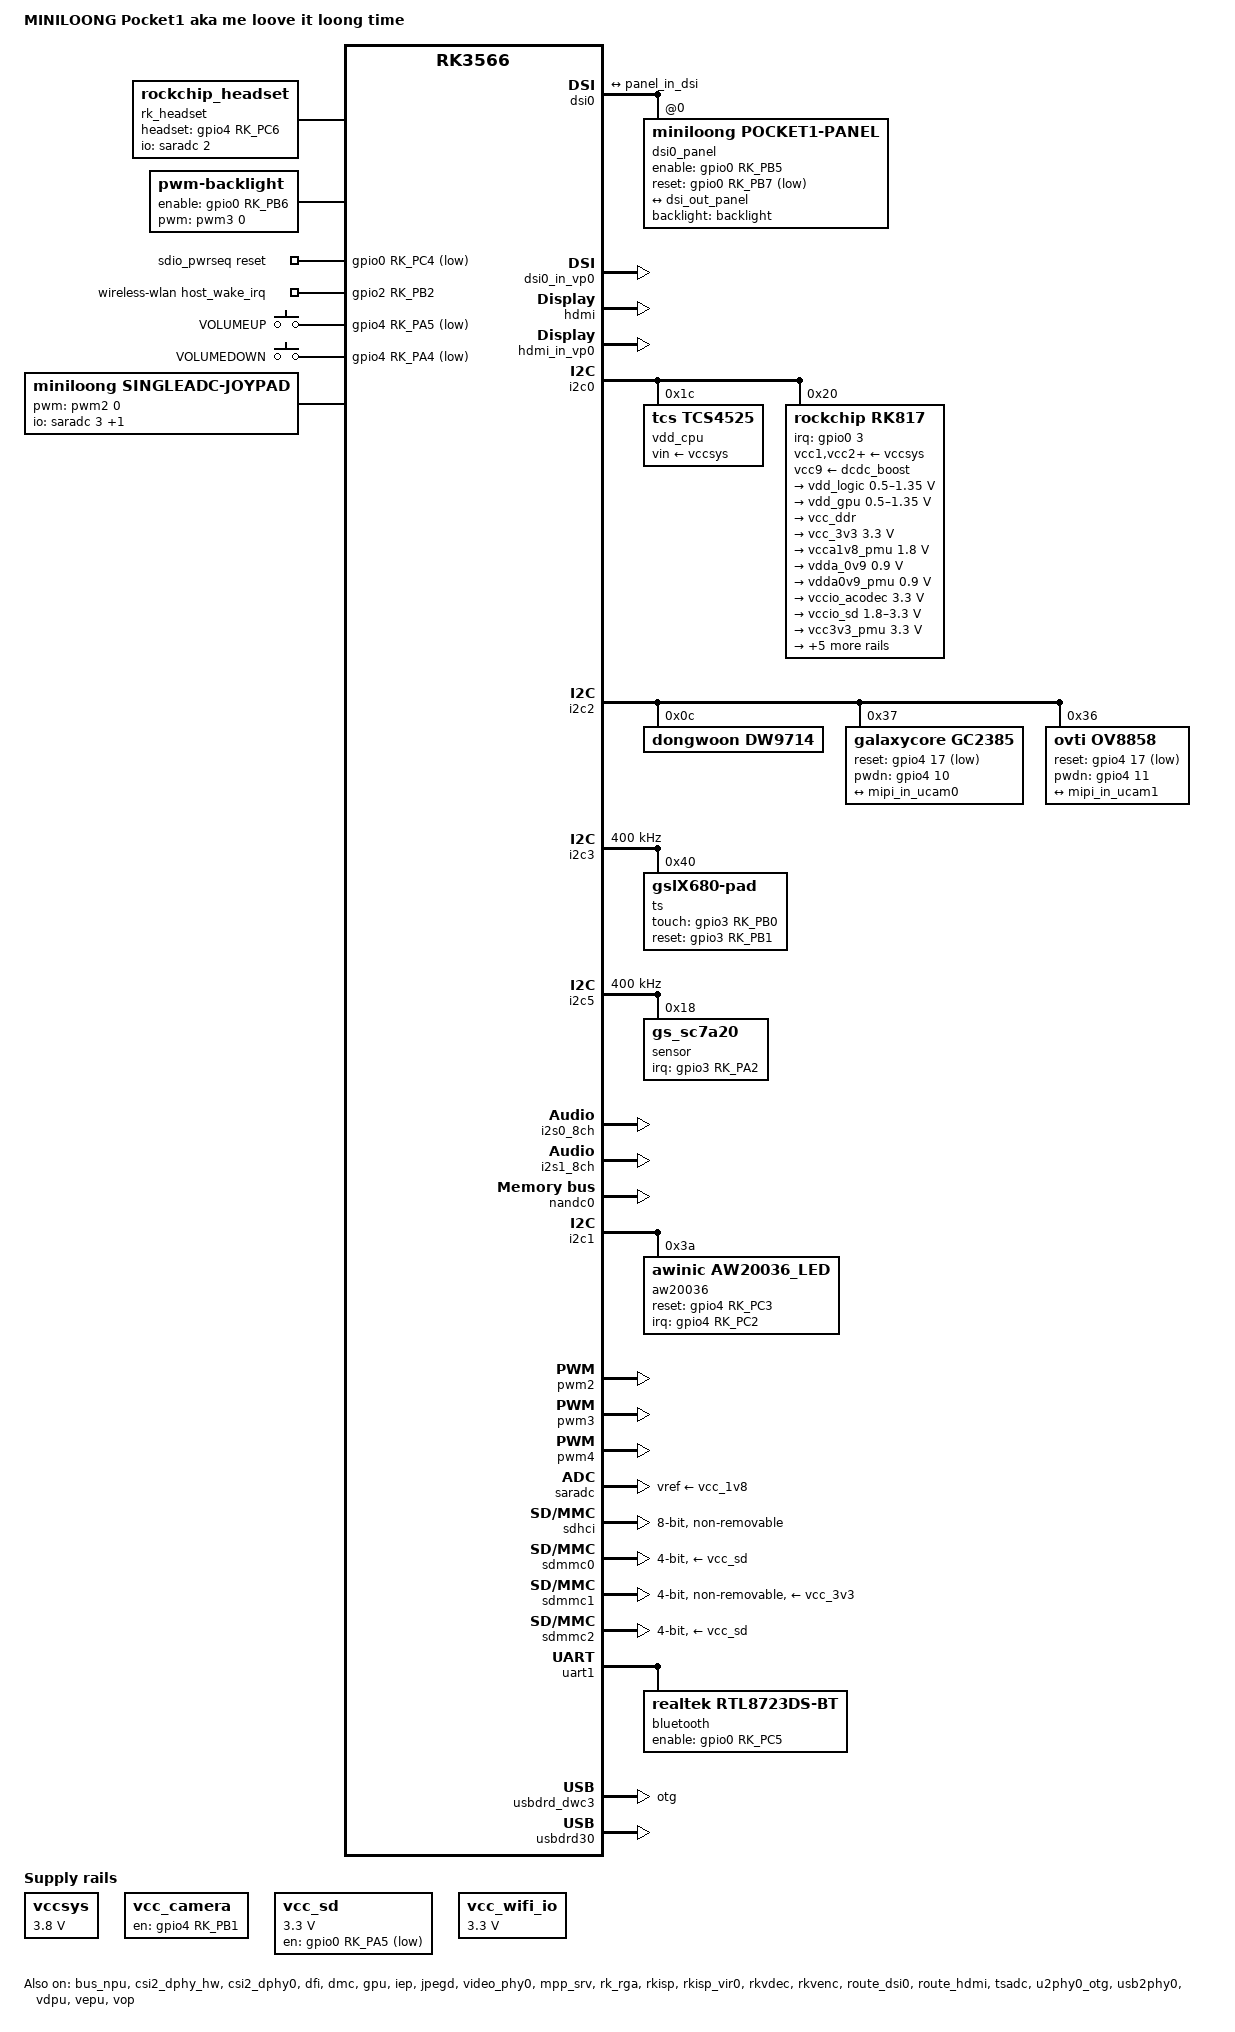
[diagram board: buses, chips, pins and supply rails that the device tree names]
// SPDX-License-Identifier: (GPL-2.0+ OR MIT)
/*
 * dArkOS Miniloong Pocket1 board DTS, reconstructed from Miniloong RK817 tablet DTB.
 * Copyright (c) 2020 Rockchip Electronics Co., Ltd.
 *
 */

/dts-v1/;

#include <dt-bindings/pwm/pwm.h>
#include <dt-bindings/gpio/gpio.h>
#include <dt-bindings/pinctrl/rockchip.h>
#include <dt-bindings/input/rk-input.h>
#include <dt-bindings/sensor-dev.h>
#include <dt-bindings/display/drm_mipi_dsi.h>
#include "rk3566.dtsi"
#include "rk3568-linux.dtsi"

/ {
	model = "MINILOONG Pocket1 aka me loove it loong time";
	compatible = "miniloong,pocket1", "rockchip,rk3566";

	chosen: chosen {
		stdout-path = "serial2:1500000n8";
	};

	adc_keys: adc-keys {
		status = "disabled";
		compatible = "adc-keys";
		io-channels = <&saradc 0>;
		io-channel-names = "buttons";
		keyup-threshold-microvolt = <1800000>;
		poll-interval = <100>;

		vol-up-key {
			label = "volume up";
			linux,code = <KEY_VOLUMEUP>;
			press-threshold-microvolt = <1750>;
		};

		vol-down-key {
			label = "volume down";
			linux,code = <KEY_VOLUMEDOWN>;
			press-threshold-microvolt = <297500>;
		};
	};

	rk_headset: rk-headset {
		compatible = "rockchip_headset";
		headset_gpio = <&gpio4 RK_PC6 GPIO_ACTIVE_HIGH>;
		pinctrl-names = "default";
		pinctrl-0 = <&hp_det>;
		io-channels = <&saradc 2>;
	};

	backlight: backlight {
		status = "okay";
		compatible = "pwm-backlight";
		pwms = <&pwm3 0 25000 0>;
		enable-gpios = <&gpio0 RK_PB6 GPIO_ACTIVE_HIGH>;
		brightness-levels = <
			0 260 260 260 260 260 260 260 260 260 260 260 260 260 261 261
			261 261 261 261 261 261 262 262 262 262 262 262 263 263 263 263
			264 264 264 264 265 265 265 266 266 266 267 267 267 268 268 268
			269 269 270 270 271 271 271 272 272 273 273 274 274 275 275 276
			277 277 278 278 279 280 280 281 281 282 283 284 284 285 286 286
			287 288 289 289 290 291 292 293 293 294 295 296 297 298 299 300
			300 301 302 303 304 305 306 307 308 309 310 311 312 314 315 316
			317 318 319 320 321 323 324 325 326 327 329 330 331 332 334 335
			336 338 339 340 342 343 344 346 347 348 350 351 353 354 356 357
			359 360 362 363 365 366 368 370 371 373 374 376 378 379 381 383
			384 386 388 390 391 393 395 397 399 400 402 404 406 408 410 412
			414 415 417 419 421 423 425 427 429 431 433 435 437 440 442 444
			446 448 450 452 455 457 459 461 463 466 468 470 472 475 477 479
			482 484 486 489 491 494 496 498 501 503 506 508 511 513 516 518
			521 524 526 529 531 534 537 539 542 545 547 550 572 595 618 640
			662 685 708 730 752 775 798 820 842 865 888 910 932 955 978 1000
		>;
		default-brightness-level = <120>;
	};

	charge-animation {
		compatible = "rockchip,uboot-charge";
		rockchip,uboot-charge-on = <1>;
		rockchip,android-charge-on = <0>;
		rockchip,uboot-low-power-voltage = <3350>;
		rockchip,screen-on-voltage = <3400>;
		status = "okay";
	};

	flash_rgb13h: flash-rgb13h {
		status = "disabled";
		compatible = "led,rgb13h";
		label = "gpio-flash";
		pinctrl-names = "default";
		pinctrl-0 = <&flash_led_gpios>;
		led-max-microamp = <20000>;
		flash-max-microamp = <20000>;
		flash-max-timeout-us = <1000000>;
		enable-gpio = <&gpio4 6 GPIO_ACTIVE_HIGH>;
		rockchip,camera-module-index = <0>;
		rockchip,camera-module-facing = "back";
	};

	rk817_sound: rk817-sound {
		/*
		 * Match the known-working dArkOS/RGB20Pro RK817 card binding.
		 * Keep this simple until the codec card appears in aplay -l.
		 */
		status = "okay";
		compatible = "simple-audio-card";
		simple-audio-card,format = "i2s";
		simple-audio-card,name = "rockchip,rk817-codec";
		simple-audio-card,mclk-fs = <256>;

		simple-audio-card,cpu {
			sound-dai = <&i2s1_8ch>;
		};

		simple-audio-card,codec {
			sound-dai = <&rk817_codec>;
		};
	};

	hdmi_sound: hdmi-sound {
		compatible = "simple-audio-card";
		simple-audio-card,format = "i2s";
		simple-audio-card,mclk-fs = <128>;
		simple-audio-card,name = "rockchip,hdmi";
		status = "okay";

		simple-audio-card,cpu {
				sound-dai = <&i2s0_8ch>;
		};
		simple-audio-card,codec {
				sound-dai = <&hdmi>;
		};
	};

	vccsys: vccsys {
		compatible = "regulator-fixed";
		regulator-name = "vcc3v8_sys";
		regulator-always-on;
		regulator-boot-on;
		regulator-min-microvolt = <3800000>;
		regulator-max-microvolt = <3800000>;
	};

	vcc_camera: vcc-camera-regulator {
		compatible = "regulator-fixed";
		gpio = <&gpio4 RK_PB1 GPIO_ACTIVE_HIGH>;
		pinctrl-names = "default";
		pinctrl-0 = <&camera_rst>;
		regulator-name = "vcc_camera";
		enable-active-high;
		regulator-always-on;
		regulator-boot-on;
	};

	sdio_pwrseq: sdio-pwrseq {
		compatible = "mmc-pwrseq-simple";
		clocks = <&rk817 1>;
		clock-names = "ext_clock";
		pinctrl-names = "default";
		pinctrl-0 = <&wifi_enable_h>;

		/*
		 * On the module itself this is one of these (depending
		 * on the actual card populated):
		 * - SDIO_RESET_L_WL_REG_ON
		 * - PDN (power down when low)
		 */
		post-power-on-delay-ms = <200>;
		reset-gpios = <&gpio0 RK_PC4 GPIO_ACTIVE_LOW>;
	};

	vcc_sd: vcc-sd {
		compatible = "regulator-gpio";
		enable-active-low;
		enable-gpio = <&gpio0 RK_PA5 GPIO_ACTIVE_LOW>;
		regulator-min-microvolt = <3300000>;
		regulator-max-microvolt = <3300000>;
		pinctrl-names = "default";
		pinctrl-0 = <&vcc_sd_h>;
		regulator-name = "vcc_sd";
		states = <3300000 0x0
			3300000 0x1>;
	};

	vcc_wifi_io: vcc-wifi-io {
		compatible = "regulator-fixed";
		regulator-name = "vcc_wifi_io";
		regulator-min-microvolt = <3300000>;
		regulator-max-microvolt = <3300000>;
		regulator-always-on;
	};

	wireless-wlan {
		compatible = "wlan-platdata";
		rockchip,grf = <&grf>;
		wifi_chip_type = "ap6255";
		pinctrl-names = "default";
		pinctrl-0 = <&wifi_host_wake_irq>;
		WIFI,host_wake_irq = <&gpio2 RK_PB2 GPIO_ACTIVE_HIGH>;
		//WIFI,poweren_gpio = <&gpio0 RK_PC4 GPIO_ACTIVE_HIGH>;
		status = "okay";
	};

	wireless-bluetooth {
		status = "disabled";
	};

	/*
	 * Digital controls use gpio-keys because Miniloong buttons are plain GPIOs.
	 * This preserves the working Miniloong button input path while mimicking
	 * the dArkOS retrogame_joypad identity as far as gpio-keys allows via DTS.
	 *
	 * If your gpio-keys driver does not copy linux,input-vendor/product/version
	 * into input_dev->id, SDL GUID will still differ and a tiny gpio_keys.c
	 * patch is required.
	 */
	gpio_keys_vol: gpio-keys-vol {
		/*
		 * Keep volume keys separate from retrogame_joypad so the
		 * joypad SDL mapping/bitmap stays RGB20Pro-compatible.
		 */
		compatible = "gpio-keys";
		autorepeat;
		status = "okay";

		button-volup {
			gpios = <&gpio4 RK_PA5 GPIO_ACTIVE_LOW>;
			label = "VOLUMEUP";
			linux,code = <KEY_VOLUMEUP>;
			debounce-interval = <10>;
		};

		button-voldown {
			gpios = <&gpio4 RK_PA4 GPIO_ACTIVE_LOW>;
			label = "VOLUMEDOWN";
			linux,code = <KEY_VOLUMEDOWN>;
			debounce-interval = <10>;
		};
	};
	
	joypad: singleadc-joypad {
		/*
		 * Requires patched singleadcjoy.c with Miniloong direct-adc mode.
		 *
		 * This uses the real dArkOS singleadc-joypad input path so the
		 * Miniloong reports like RGB20Pro:
		 *   Name    = retrogame_joypad
		 *   Bus     = 0019
		 *   Vendor  = 484b
		 *   Product = 1101
		 *   Version = 0100
		 *   Phys    = retrogame_joypad/input0
		 *
		 * It also exposes ABS/FF capabilities instead of a keyboard-like
		 * gpio-keys device.
		 */
		compatible = "miniloong,singleadc-joypad", "singleadc-joypad";
		status = "okay";

		/* rumble */
		/* pwms = <&pwm5 0 10000 0>; */
		pwms = <&pwm2 0 10000 0>;

		joypad-name = "retrogame_joypad";
		joypad-product = <0x1101>;
		joypad-revision = <0x0100>;

		/*
		 * Miniloong direct SARADC layout:
		 *   SARADC3 = X
		 *   SARADC2 = Y
		 */
		direct-adc;
		io-channel-names = "joy_x", "joy_y";
		io-channels = <&saradc 3>, <&saradc 2>;

		/*
		 * Keep amux-count at 4 so the input capability bitmap includes
		 * ABS_X, ABS_Y, ABS_RX, and ABS_RY like the RGB20Pro. The
		 * patched driver centers RX/RY because Miniloong has one stick.
		 */
		amux-count = <4>;
		button-adc-scale = <2>;
		button-adc-deadzone = <48>;
		button-adc-fuzz = <16>;
		button-adc-flat = <16>;
		poll-interval = <10>;
		direct-adc-gain = <6>;

		abs_x-p-tuning = <250>;
		abs_x-n-tuning = <250>;
		abs_y-p-tuning = <250>;
		abs_y-n-tuning = <250>;
		abs_rx-p-tuning = <250>;
		abs_rx-n-tuning = <250>;
		abs_ry-p-tuning = <250>;
		abs_ry-n-tuning = <250>;

		pinctrl-names = "default";
		pinctrl-0 = <&gpio_keys_ctrl>;

		sw1 {
			gpios = <&gpio3 RK_PD1 GPIO_ACTIVE_LOW>;
			label = "BTN_UP";
			linux,code = <BTN_DPAD_UP>;
		};

		sw2 {
			gpios = <&gpio3 RK_PC6 GPIO_ACTIVE_LOW>;
			label = "BTN_DOWN";
			linux,code = <BTN_DPAD_DOWN>;
		};

		sw3 {
			gpios = <&gpio3 RK_PC7 GPIO_ACTIVE_LOW>;
			label = "BTN_LEFT";
			linux,code = <BTN_DPAD_LEFT>;
		};

		sw4 {
			gpios = <&gpio3 RK_PD0 GPIO_ACTIVE_LOW>;
			label = "BTN_RIGHT";
			linux,code = <BTN_DPAD_RIGHT>;
		};

		sw5 {
			gpios = <&gpio3 RK_PD5 GPIO_ACTIVE_LOW>;
			label = "BTNSOUTH";
			linux,code = <BTN_SOUTH>;
		};

		sw6 {
			gpios = <&gpio3 RK_PD3 GPIO_ACTIVE_LOW>;
			label = "BTNEAST";
			linux,code = <BTN_EAST>;
		};

		sw7 {
			gpios = <&gpio3 RK_PD2 GPIO_ACTIVE_LOW>;
			label = "BTNWEST";
			linux,code = <BTN_WEST>;
		};

		sw8 {
			gpios = <&gpio3 RK_PD4 GPIO_ACTIVE_LOW>;
			label = "BTNNORTH";
			linux,code = <BTN_NORTH>;
		};

		sw9 {
			gpios = <&gpio4 RK_PA2 GPIO_ACTIVE_LOW>;
			label = "SELECT";
			linux,code = <BTN_SELECT>;
		};

		sw10 {
			gpios = <&gpio4 RK_PA3 GPIO_ACTIVE_LOW>;
			label = "START";
			linux,code = <BTN_START>;
		};

		sw11 {
			gpios = <&gpio4 RK_PA6 GPIO_ACTIVE_LOW>;
			label = "MODE";
			linux,code = <BTN_MODE>;
		};

		sw12 {
			gpios = <&gpio3 RK_PD6 GPIO_ACTIVE_LOW>;
			label = "BTN_L1";
			linux,code = <BTN_TL>;
		};

		sw13 {
			gpios = <&gpio4 RK_PA0 GPIO_ACTIVE_LOW>;
			label = "BTN_R1";
			linux,code = <BTN_TR>;
		};

		sw14 {
			gpios = <&gpio3 RK_PD7 GPIO_ACTIVE_LOW>;
			label = "BTN_L2";
			linux,code = <BTN_TL2>;
		};

		sw15 {
			gpios = <&gpio4 RK_PA1 GPIO_ACTIVE_LOW>;
			label = "BTN_R2";
			linux,code = <BTN_TR2>;
		};

		sw16 {
			gpios = <&gpio2 RK_PC5 GPIO_ACTIVE_LOW>;
			label = "LEFT JOYSTICK MIDDLE";
			linux,code = <BTN_THUMBL>;
		};
	};

	/*
	 * Placeholder for Miniloong analog stick hardware.
	 * This is disabled because the existing dArkOS singleadc-joypad
	 * binding expects an ADC mux, while Miniloong uses direct ADC channels.
	 */

	mangmi_powerCtrl: mangmi-powerctrl {
		compatible = "mangmi,powerCtrl";
		pinctrl-names = "default";
		pinctrl-0 = <&powerCtrl_en>;
		typec-5v-en-gpio = <&gpio0 RK_PC7 GPIO_ACTIVE_HIGH>;
		spk-ctl-gpio = <&gpio0 RK_PC0 GPIO_ACTIVE_HIGH>;
		status = "disabled";
	};
};

&bus_npu {
	bus-supply = <&vdd_logic>;
	pvtm-supply = <&vdd_cpu>;
	status = "okay";
};

&cpu0 {
	cpu-supply = <&vdd_cpu>;
};

&cpu1 {
	cpu-supply = <&vdd_cpu>;
};

&cpu2 {
	cpu-supply = <&vdd_cpu>;
};

&cpu3 {
	cpu-supply = <&vdd_cpu>;
};

&csi2_dphy_hw {
	status = "okay";
};

&csi2_dphy0 {
	status = "okay";

	ports {
		#address-cells = <1>;
		#size-cells = <0>;
		port@0 {
			reg = <0>;
			#address-cells = <1>;
			#size-cells = <0>;

			mipi_in_ucam0: endpoint@0 {
				reg = <0>;
				remote-endpoint = <&gc2385_out>;
				data-lanes = <1>;
			};
			mipi_in_ucam1: endpoint@1 {
				reg = <1>;
				remote-endpoint = <&ov8858_out>;
				data-lanes = <1 2 3 4>;
			};
		};
		port@1 {
			reg = <1>;
			#address-cells = <1>;
			#size-cells = <0>;

			csidphy0_out: endpoint@0 {
				reg = <0>;
				remote-endpoint = <&isp0_in>;
			};
		};
	};
};

&dfi {
	status = "okay";
};

&dmc {
	operating-points-v2 = <&dmc_opp_table>;
	center-supply = <&vdd_logic>;
	status = "okay";

	/*
	 * Copied verbatim from the stock/vendor dts's &dmc node -- absent
	 * from this file previously. These tell the rockchip DMC (DDR
	 * frequency) devfreq governor to proactively bump DDR clock speed
	 * in response to VOP display bandwidth demand, rather than relying
	 * only on generic reactive CPU-load-based scaling. Without these,
	 * DDR could stay at a lower frequency during a sudden display
	 * bandwidth spike (more likely at 90/120Hz, where there's less
	 * time per frame for the memory subsystem to keep up), letting the
	 * VOP's line buffer run dry for a frame -- producing exactly the
	 * kind of brief white flash seen during active use. All values are
	 * plain numeric bandwidth-threshold/frequency pairs, not phandles,
	 * so a direct copy from stock is safe.
	 */
	vop-bw-dmc-freq = <0x00 0x11e 0x4f1a0 0x11f 0x1869f 0x80e80>;
	vop-frame-bw-dmc-freq = <0x00 0x26c 0x4f1a0 0x26d 0x1869f 0xbe6e0>;
	cpu-bw-dmc-freq = <0x00 0x15e 0x4f1a0 0x15f 0x190 0x80e80 0x191 0x1869f 0xbe6e0>;
	system-status-level = <0x01 0x04 0x08 0x08 0x02 0x01 0x10 0x04 0x10000 0x04 0x1000 0x08 0x4000 0x08 0x2000 0x08 0xc00 0x08>;
	auto-min-freq = <0x4f1a0>;
	auto-freq-en = <0x01>;
	upthreshold = <0x28>;
	downdifferential = <0x14>;
	#cooling-cells = <2>;
};

&dsi0 {
	status = "okay";
	/*
	 * Deliberately NOT setting rockchip,lane-rate here (stock/vendor
	 * dts never sets it either -- confirmed by direct comparison).
	 * Leaving it unset lets the dw-mipi-dsi driver auto-calculate the
	 * DSI PHY bit rate per active mode, rather than forcing a fixed
	 * 1000 Mbps/lane regardless of refresh rate. A fixed high rate
	 * means the burst duty cycle (fraction of each line spent
	 * actively toggling at high speed) grows with refresh rate even
	 * though peak PHY bit rate doesn't -- a plausible source of
	 * refresh-rate-dependent signal margin issues on some panel/cable
	 * batches. If 90/120Hz white-screens on a given unit even with
	 * this removed, that rules this out and points back toward a
	 * genuine per-unit hardware margin limit instead.
	 */
	dsi0_panel: panel@0 {
		compatible = "miniloong,pocket1-panel", "simple-panel-dsi";
		reg = <0>;
		backlight = <&backlight>;
		enable-gpios = <&gpio0 RK_PB5 GPIO_ACTIVE_HIGH>;
		reset-gpios = <&gpio0 RK_PB7 GPIO_ACTIVE_LOW>;
		pinctrl-names = "default";
		pinctrl-0 = <&lcd_enable_gpio>, <&lcd_rst_gpio>;
		prepare-delay-ms = <120>;
		reset-delay-ms = <120>;
		init-delay-ms = <120>;
		stbyb-delay-ms = <120>;
		enable-delay-ms = <120>;
		disable-delay-ms = <120>;
		unprepare-delay-ms = <120>;
		width-mm = <229>;
		height-mm = <143>;
		dsi,flags = <(MIPI_DSI_MODE_VIDEO | MIPI_DSI_MODE_VIDEO_BURST | MIPI_DSI_MODE_LPM | MIPI_DSI_MODE_EOT_PACKET)>;
		dsi,format = <MIPI_DSI_FMT_RGB888>;
		dsi,lanes = <4>;
		panel-init-sequence = [
			39 00 04 ff 98 81 03 15 00 02 01 00 15 00 02 02
			00 15 00 02 03 72 15 00 02 04 00 15 00 02 05 00
			15 00 02 06 09 15 00 02 07 00 15 00 02 08 00 15
			00 02 09 01 15 00 02 0a 00 15 00 02 0b 00 15 00
			02 0c 01 15 00 02 0d 00 15 00 02 0e 00 15 00 02
			0f 00 15 00 02 10 00 15 00 02 11 00 15 00 02 12
			00 15 00 02 13 00 15 00 02 14 00 15 00 02 15 00
			15 00 02 16 00 15 00 02 17 00 15 00 02 18 00 15
			00 02 19 00 15 00 02 1a 00 15 00 02 1b 00 15 00
			02 1c 00 15 00 02 1d 00 15 00 02 1e 40 15 00 02
			1f 80 15 00 02 20 05 15 00 02 21 02 15 00 02 22
			00 15 00 02 23 00 15 00 02 24 00 15 00 02 25 00
			15 00 02 26 00 15 00 02 27 00 15 00 02 28 33 15
			00 02 29 02 15 00 02 2a 00 15 00 02 2b 00 15 00
			02 2c 00 15 00 02 2d 00 15 00 02 2e 00 15 00 02
			2f 00 15 00 02 31 00 15 00 02 32 00 15 00 02 33
			00 15 00 02 34 04 15 00 02 35 00 15 00 02 36 00
			15 00 02 37 00 15 00 02 38 3c 15 00 02 39 00 15
			00 02 3a 40 15 00 02 3b 40 15 00 02 3c 00 15 00
			02 3d 00 15 00 02 3e 00 15 00 02 3f 00 15 00 02
			40 00 15 00 02 41 00 15 00 02 42 00 15 00 02 43
			00 15 00 02 44 00 15 00 02 50 01 15 00 02 51 23
			15 00 02 52 45 15 00 02 53 67 15 00 02 54 89 15
			00 02 55 ab 15 00 02 56 01 15 00 02 57 23 15 00
			02 58 45 15 00 02 59 67 15 00 02 5a 89 15 00 02
			5b ab 15 00 02 5c cd 15 00 02 5d ef 15 00 02 5e
			11 15 00 02 5f 01 15 00 02 60 00 15 00 02 61 15
			15 00 02 62 14 15 00 02 63 0e 15 00 02 64 0f 15
			00 02 65 0c 15 00 02 66 0d 15 00 02 67 06 15 00
			02 68 02 15 00 02 69 07 15 00 02 6a 02 15 00 02
			6b 02 15 00 02 6c 02 15 00 02 6d 02 15 00 02 6e
			02 15 00 02 6f 02 15 00 02 70 02 15 00 02 71 02
			15 00 02 72 02 15 00 02 73 02 15 00 02 74 02 15
			00 02 75 01 15 00 02 76 00 15 00 02 77 14 15 00
			02 78 15 15 00 02 79 0e 15 00 02 7a 0f 15 00 02
			7b 0c 15 00 02 7c 0d 15 00 02 7d
			06 15 00 02 7e
			02 15 00 02 7f 07 15 00 02 80 02 15 00 02 81 02
			15 00 02 82 02 15 00 02 83 02 15 00 02 84 02 15
			00 02 85 02 15 00 02 86 02 15 00 02 87 02 15 00
			02 88 02 15 00 02 89 02 15 00 02 8a 02 39 00 04
			ff 98 81 04 15 00 02 38 01 15 00 02 39 00 15 00
			02 6c 15 15 00 02 6e 2a 15 00 02 6f 34 15 00 02
			3a 94 15 00 02 8d 14 15 00 02 87 ba 15 00 02 26
			76 15 00 02 b2 d1 15 00 02 b5 06 15 00 02 3b 98
			39 00 04 ff 98 81 01 15 00 02 22 09 15 00 02 2e
			78 15 00 02 31 00 15 00 02 53 90 15 00 02 55 a2
			15 00 02 50 b7 15 00 02 51 b7 15 00 02 60 22 15
			00 02 61 00 15 00 02 62 19 15 00 02 63 10 15 00
			02 a0 08 15 00 02 a1 1a 15 00 02 a2 27 15 00 02
			a3 15 15 00 02 a4 17 15 00 02 a5 2a 15 00 02 a6
			1e 15 00 02 a7 1f 15 00 02 a8 8b 15 00 02 a9 1b
			15 00 02 aa 27 15 00 02 ab 78 15 00 02 ac 18 15
			00 02 ad 18 15 00 02 ae 4c 15 00 02 af 21 15 00
			02 b0 27 15 00 02 b1 54 15 00 02 b2 67 15 00 02
			b3 39 15 00 02 c0 08 15 00 02 c1 1a 15 00 02 c2
			27 15 00 02 c3 15 15 00 02 c4 17 15 00 02 c5 2a
			15 00 02 c6 1e 15 00 02 c7 1f 15 00 02 c8 8b 15
			00 02 c9 1b 15 00 02 ca 27 15 00 02 cb 78 15 00
			02 cc 18 15 00 02 cd 18 15 00 02 ce 4c 15 00 02
			cf 21 15 00 02 d0 27 15 00 02 d1 54 15 00 02 d2
			67 15 00 02 d3 39 39 00 04 ff 98 81 00 15 00 02
			35 00 05 c8 01 11 05 28 01 29
		];
		panel-exit-sequence = [
			05 dc 01 28
			05 78 01 10
		];
		display-timings {
			/*
			 * Informational only: panel-miniloong-pocket1.c builds
			 * its own drm_display_mode table (60/90/120Hz) rather
			 * than reading this node via of_get_display_timing().
			 * Kept here in sync so the DTS documents what the
			 * driver actually exposes. native-mode stays on the
			 * 60Hz timing as the safe default (module parameter
			 * preferred_refresh_hz controls the actual boot
			 * default in the driver).
			 */
			native-mode = <&dsi0_timing0>;
			dsi0_timing0: timing0 {
				clock-frequency = <47000000>;
				hactive = <720>;
				vactive = <960>;
				hsync-len = <14>;
				hback-porch = <20>;
				hfront-porch = <15>;
				vsync-len = <8>;
				vback-porch = <20>;
				vfront-porch = <30>;
				hsync-active = <0>;
				vsync-active = <0>;
				de-active = <0>;
				pixelclk-active = <0>;
			};
			dsi0_timing1: timing1 {
				clock-frequency = <70456000>;
				hactive = <720>;
				vactive = <960>;
				hsync-len = <14>;
				hback-porch = <20>;
				hfront-porch = <15>;
				vsync-len = <8>;
				vback-porch = <20>;
				vfront-porch = <30>;
				hsync-active = <0>;
				vsync-active = <0>;
				de-active = <0>;
				pixelclk-active = <0>;
			};
			dsi0_timing2: timing2 {
				clock-frequency = <93941000>;
				hactive = <720>;
				vactive = <960>;
				hsync-len = <14>;
				hback-porch = <20>;
				hfront-porch = <15>;
				vsync-len = <8>;
				vback-porch = <20>;
				vfront-porch = <30>;
				hsync-active = <0>;
				vsync-active = <0>;
				de-active = <0>;
				pixelclk-active = <0>;
			};
		};
		ports {
			#address-cells = <1>;
			#size-cells = <0>;
			port@0 { reg = <0>; panel_in_dsi: endpoint { remote-endpoint = <&dsi_out_panel>; }; };
		};
	};
	ports {
		#address-cells = <1>;
		#size-cells = <0>;
		port@1 { reg = <1>; dsi_out_panel: endpoint { remote-endpoint = <&panel_in_dsi>; }; };
	};
};

&dsi0_in_vp0 {
	status = "okay";
};

&dsi0_in_vp1 {
	status = "disabled";
};

&gpu {
	mali-supply = <&vdd_gpu>;
	mem-supply = <&vdd_gpu>;
	status = "okay";
	operating-points-v2 = <&gpu_opp_table>;
};

&hdmi {
	status = "okay";
};

&hdmi_in_vp0 {
	status = "okay";
};

&hdmi_in_vp1 {
	status = "disabled";
};

&hdmi_sound {
	status = "okay";
};

&i2c0 {
	status = "okay";

	vdd_cpu: tcs4525@1c {
		compatible = "tcs,tcs4525";
		reg = <0x1c>;
		vin-supply = <&vccsys>;
		regulator-compatible = "fan53555-reg";
		regulator-name = "vdd_cpu";
		regulator-min-microvolt = <712500>;
		regulator-max-microvolt = <1390000>;
		regulator-init-microvolt = <900000>;
		regulator-ramp-delay = <2300>;
		fcs,suspend-voltage-selector = <1>;
		regulator-boot-on;
		regulator-always-on;
		regulator-state-mem {
			regulator-off-in-suspend;
		};
	};

	rk817: pmic@20 {
		compatible = "rockchip,rk817";
		reg = <0x20>;
		interrupt-parent = <&gpio0>;
		interrupts = <3 IRQ_TYPE_LEVEL_LOW>;

		pinctrl-names = "default", "pmic-sleep",
				"pmic-power-off", "pmic-reset";
		pinctrl-0 = <&pmic_int>;
		pinctrl-1 = <&soc_slppin_slp>, <&rk817_slppin_slp>;
		pinctrl-2 = <&soc_slppin_gpio>, <&rk817_slppin_pwrdn>;
		pinctrl-3 = <&soc_slppin_gpio>, <&rk817_slppin_rst>;
		rockchip,system-power-controller;
		wakeup-source;
		#clock-cells = <1>;
		clock-output-names = "rk808-clkout1", "rk808-clkout2";
		//fb-inner-reg-idxs = <2>;
		/* 1: rst regs (default in codes), 0: rst the pmic */
		pmic-reset-func = <0>;
		/* not save the PMIC_POWER_EN register in uboot */
		not-save-power-en = <1>;

		vcc1-supply = <&vccsys>;
		vcc2-supply = <&vccsys>;
		vcc3-supply = <&vccsys>;
		vcc4-supply = <&vccsys>;
		vcc5-supply = <&vccsys>;
		vcc6-supply = <&vccsys>;
		vcc7-supply = <&vccsys>;
		vcc8-supply = <&vccsys>;
		vcc9-supply = <&dcdc_boost>;

		pwrkey {
			status = "okay";
		};

		pinctrl_rk8xx: pinctrl_rk8xx {
			gpio-controller;
			#gpio-cells = <2>;

			rk817_slppin_null: rk817_slppin_null {
				pins = "gpio_slp";
				function = "pin_fun0";
			};

			rk817_slppin_slp: rk817_slppin_slp {
				pins = "gpio_slp";
				function = "pin_fun1";
			};

			rk817_slppin_pwrdn: rk817_slppin_pwrdn {
				pins = "gpio_slp";
				function = "pin_fun2";
			};

			rk817_slppin_rst: rk817_slppin_rst {
				pins = "gpio_slp";
				function = "pin_fun3";
			};
		};

		regulators {
			vdd_logic: DCDC_REG1 {
				regulator-always-on;
				regulator-boot-on;
				regulator-min-microvolt = <500000>;
				regulator-max-microvolt = <1350000>;
				regulator-init-microvolt = <900000>;
				regulator-ramp-delay = <6001>;
				regulator-initial-mode = <0x2>;
				regulator-name = "vdd_logic";
				regulator-state-mem {
					regulator-off-in-suspend;
					regulator-suspend-microvolt = <900000>;
				};
			};

			vdd_gpu: DCDC_REG2 {
				regulator-always-on;
				regulator-boot-on;
				regulator-min-microvolt = <500000>;
				regulator-max-microvolt = <1350000>;
				regulator-init-microvolt = <900000>;
				regulator-ramp-delay = <6001>;
				regulator-initial-mode = <0x2>;
				regulator-name = "vdd_gpu";
				regulator-state-mem {
					regulator-off-in-suspend;
				};
			};

			vcc_ddr: DCDC_REG3 {
				regulator-always-on;
				regulator-boot-on;
				regulator-initial-mode = <0x2>;
				regulator-name = "vcc_ddr";
				regulator-state-mem {
					regulator-on-in-suspend;
				};
			};

			vcc_3v3: DCDC_REG4 {
				regulator-always-on;
				regulator-boot-on;
				regulator-min-microvolt = <3300000>;
				regulator-max-microvolt = <3300000>;
				regulator-initial-mode = <0x2>;
				regulator-name = "vcc_3v3";
				regulator-state-mem {
					regulator-on-in-suspend;
					regulator-suspend-microvolt = <3300000>;
				};
			};

			vcca1v8_pmu: LDO_REG1 {
				regulator-always-on;
				regulator-boot-on;
				regulator-min-microvolt = <1800000>;
				regulator-max-microvolt = <1800000>;
				regulator-name = "vcca1v8_pmu";
				regulator-state-mem {
					regulator-on-in-suspend;
					regulator-suspend-microvolt = <1800000>;
				};
			};

			vdda_0v9: LDO_REG2 {
				regulator-always-on;
				regulator-boot-on;
				regulator-min-microvolt = <900000>;
				regulator-max-microvolt = <900000>;
				regulator-name = "vdda_0v9";
				regulator-state-mem {
					regulator-off-in-suspend;
				};
			};

			vdda0v9_pmu: LDO_REG3 {
				regulator-always-on;
				regulator-boot-on;
				regulator-min-microvolt = <900000>;
				regulator-max-microvolt = <900000>;
				regulator-name = "vdda0v9_pmu";
				regulator-state-mem {
					regulator-on-in-suspend;
					regulator-suspend-microvolt = <900000>;
				};
			};

			vccio_acodec: LDO_REG4 {
				regulator-always-on;
				regulator-boot-on;
				regulator-min-microvolt = <3300000>;
				regulator-max-microvolt = <3300000>;
				regulator-name = "vccio_acodec";
				regulator-state-mem {
					regulator-off-in-suspend;
				};
			};

			vccio_sd: LDO_REG5 {
				regulator-always-on;
				regulator-boot-on;
				regulator-min-microvolt = <1800000>;
				regulator-max-microvolt = <3300000>;
				regulator-name = "vccio_sd";
				regulator-state-mem {
					regulator-off-in-suspend;
				};
			};

			vcc3v3_pmu: LDO_REG6 {
				regulator-always-on;
				regulator-boot-on;
				regulator-min-microvolt = <3300000>;
				regulator-max-microvolt = <3300000>;
				regulator-name = "vcc3v3_pmu";
				regulator-state-mem {
					regulator-on-in-suspend;
					regulator-suspend-microvolt = <3000000>;
				};
			};

			vcc_1v8: LDO_REG7 {
				regulator-always-on;
				regulator-boot-on;
				regulator-min-microvolt = <1800000>;
				regulator-max-microvolt = <1800000>;
				regulator-name = "vcc_1v8";
				regulator-state-mem {
					regulator-off-in-suspend;
				};
			};

			vcc1v8_dvp: LDO_REG8 {
				regulator-always-on;
				regulator-boot-on;
				regulator-min-microvolt = <1800000>;
				regulator-max-microvolt = <1800000>;
				regulator-name = "vcc1v8_dvp";
				regulator-state-mem {
					regulator-off-in-suspend;
				};
			};

			vcc2v8_dvp: LDO_REG9 {
				regulator-always-on;
				regulator-boot-on;
				regulator-min-microvolt = <2800000>;
				regulator-max-microvolt = <2800000>;
				regulator-name = "vcc2v8_dvp";
				regulator-state-mem {
					regulator-off-in-suspend;
				};
			};

			dcdc_boost: BOOST {
				regulator-always-on;
				regulator-boot-on;
				regulator-min-microvolt = <5000000>;
				regulator-max-microvolt = <5000000>;
				regulator-name = "boost";
				regulator-state-mem {
					regulator-off-in-suspend;
				};
			};

			otg_switch: OTG_SWITCH {
				regulator-name = "otg_switch";
				regulator-min-microvolt = <5000000>;
				regulator-max-microvolt = <5000000>;
				regulator-state-mem {
					regulator-off-in-suspend;
				};
			};
		};

		battery {
			compatible = "rk817,battery";
			ocv_table = <3400 3513 3578 3687 3734 3752 3763
				     3766 3771 3784 3804 3836 3885 3925
				     3962 4005 4063 4114 4169 4227 4303>;
			design_capacity = <5000>;
			design_qmax = <5500>;
			bat_res = <100>;
			sleep_enter_current = <150>;
			sleep_exit_current = <180>;
			sleep_filter_current = <100>;
			power_off_thresd = <3350>;
			zero_algorithm_vol = <3850>;
			max_soc_offset = <60>;
			monitor_sec = <5>;
			sample_res = <10>;
			virtual_power = <0>;
		};

		charger {
			compatible = "rk817,charger";
			min_input_voltage = <4500>;
			max_input_current = <1500>;
			max_chrg_current = <2000>;
			max_chrg_voltage = <4250>;
			chrg_term_mode = <0>;
			chrg_finish_cur = <300>;
			virtual_power = <0>;
			dc_det_adc = <0>;
			extcon = <&usb2phy0>;
			rockchip,validate-charger-with-pmic-plugin;
		};

		rk817_codec: codec {
			#sound-dai-cells = <0>;
			compatible = "rockchip,rk817-codec";
			clocks = <&cru I2S1_MCLKOUT>;
			clock-names = "mclk";
			assigned-clocks = <&cru I2S1_MCLKOUT>, <&cru I2S1_MCLK_TX_IOE>;
			assigned-clock-rates = <12288000>;
			assigned-clock-parents = <&cru I2S1_MCLKOUT_TX>, <&cru I2S1_MCLKOUT_TX>;
			pinctrl-names = "default";
			pinctrl-0 = <&i2s1m0_mclk>;
			hp-volume = <20>;
			spk-volume = <3>;
			out-l2spk-r2hp;
			/* Miniloong external speaker amp enable */
			//spk-ctl-gpios = <&gpio0 RK_PC0 GPIO_ACTIVE_HIGH>;
			/* Miniloong headphone detect */
			//hp-det-gpios = <&gpio4 RK_PC6 GPIO_ACTIVE_HIGH>;
			status = "okay";
		};
	};
	/* es8316: es8316@10 {
		status = "disabled";
		#sound-dai-cells = <0>;
		compatible = "everest,es8316";
		reg = <0x10>;
		clocks = <&cru I2S1_MCLKOUT>;
		clock-names = "mclk";
		assigned-clocks = <&cru I2S1_MCLKOUT>, <&cru I2S1_MCLK_TX_IOE>;
		assigned-clock-rates = <11289600>;
		assigned-clock-parents = <&cru I2S1_MCLKOUT_TX>, <&cru I2S1_MCLKOUT_TX>;
		pinctrl-names = "default";
		pinctrl-0 = <&i2s1m0_mclk>;
		hp-det-gpio = <&gpio4 RK_PC6 GPIO_ACTIVE_HIGH>;		
		//spk-con-gpio = <&gpio0 RK_PC0 GPIO_ACTIVE_HIGH>;
	}; */
};

&i2c2 {
	status = "okay";
	pinctrl-0 = <&i2c2m1_xfer>;

	dw9714: dw9714@c {
		compatible = "dongwoon,dw9714";
		status = "okay";
		reg = <0x0c>;
		rockchip,camera-module-index = <0>;
		rockchip,vcm-start-current = <10>;
		rockchip,vcm-rated-current = <85>;
		rockchip,vcm-step-mode = <5>;
		rockchip,camera-module-facing = "back";
	};

	gc2385: gc2385@37 {
		compatible = "galaxycore,gc2385";
		status = "okay";
		reg = <0x37>;
		clocks = <&cru CLK_CIF_OUT>;
		clock-names = "xvclk";
		power-domains = <&power RK3568_PD_VI>;
		pinctrl-names = "rockchip,camera_default";
		pinctrl-0 = <&cif_clk>;

		//reset pin control by hardware,used this pin switch to mipi input
		//1->2LANE(LANE 0&1) FRONT camera, 0->4LANE REAR camera
		reset-gpios = <&gpio4 17 GPIO_ACTIVE_LOW>;
		pwdn-gpios = <&gpio4 10 GPIO_ACTIVE_HIGH>;
		rockchip,camera-module-index = <1>;
		rockchip,camera-module-facing = "front";
		rockchip,camera-module-name = "HS5885-BNSM1018-V01";
		rockchip,camera-module-lens-name = "default";
		port {
			gc2385_out: endpoint {
				remote-endpoint = <&mipi_in_ucam0>;
				data-lanes = <1>;
			};
		};
	};

	ov8858: ov8858@36 {
		status = "okay";
		compatible = "ovti,ov8858";
		reg = <0x36>;
		clocks = <&cru CLK_CAM0_OUT>;
		clock-names = "xvclk";
		power-domains = <&power RK3568_PD_VI>;
		pinctrl-names = "rockchip,camera_default", "rockchip,camera_sleep";
		pinctrl-0 = <&cam_clkout0>;
		pinctrl-1 = <&cam_sleep>;
		//reset pin control by hardware,used this pin switch to mipi input
		//1->2LANE(LANE 0&1) FRONT camera, 0->4LANE REAR camera
		reset-gpios = <&gpio4 17 GPIO_ACTIVE_LOW>;
		pwdn-gpios = <&gpio4 11 GPIO_ACTIVE_HIGH>;
		rockchip,camera-module-index = <0>;
		rockchip,camera-module-facing = "back";
		rockchip,camera-module-name = "HS5885-BNSM1018-V01";
		rockchip,camera-module-lens-name = "default";
		flash-leds = <&flash_rgb13h>;
		lens-focus = <&dw9714>;
		port {
			ov8858_out: endpoint {
				remote-endpoint = <&mipi_in_ucam1>;
				data-lanes = <1 2 3 4>;
			};
		};
	};
};

&i2c3 {
	status = "okay";
	pinctrl-names = "default";
	pinctrl-0 = <&i2c3m1_xfer>;
	clock-frequency = <400000>;
	i2c-scl-rising-time-ns = <138>;
	i2c-scl-falling-time-ns = <4>;

	ts@40 {
		compatible = "gslX680-pad";
		reg = <0x40>;
		touch-gpio = <&gpio3 RK_PB0 IRQ_TYPE_LEVEL_HIGH>;
		reset-gpio = <&gpio3 RK_PB1 IRQ_TYPE_LEVEL_HIGH>;
		pinctrl-names = "default";
		pinctrl-0 = <&tp_gpio>;
		screen_max_x = <1200>;
		screen_max_y = <1920>;
		revert_x = <0>;
		revert_y = <1>;
		revert_xy = <0>;
		chip_id = <1>;
		status = "okay";
	};
};

&i2c5 {
	status = "okay";
	clock-frequency = <400000>;
	i2c-scl-rising-time-ns = <144>;
	i2c-scl-falling-time-ns = <4>;

	sensor@18 {
		compatible = "gs_sc7a20";
		reg = <0x18>;
		type = <SENSOR_TYPE_ACCEL>;
		irq_enable = <0>;
		pinctrl-names = "default";
		pinctrl-0 = <&sensor_gpio>;
		irq-gpio = <&gpio3 RK_PA2 IRQ_TYPE_EDGE_RISING>;
		poll_delay_ms = <10>;
		layout = <1>;
	};
};

&i2s0_8ch {
	status = "okay";
};

&i2s1_8ch {
	status = "okay";
	rockchip,clk-trcm = <1>;
	pinctrl-names = "default";
	pinctrl-0 = <&i2s1m0_sclktx
		     &i2s1m0_lrcktx
		     &i2s1m0_sdi0
		     &i2s1m0_sdo0>;
};

&iep {
	status = "okay";
};

&iep_mmu {
	status = "okay";
};

&jpegd {
	status = "okay";
};

&jpegd_mmu {
	status = "okay";
};

&video_phy0 {
	status = "okay";
};

&mpp_srv {
	status = "okay";
};

&nandc0 {
	status = "okay";
};

&i2c1 {
	status = "okay";

	aw20036: aw20036_led@3a {
		compatible = "awinic,aw20036_led";
		reg = <0x3a>;
		status = "okay";

		reset-gpio = <&gpio4 RK_PC3 GPIO_ACTIVE_HIGH>;
		irq-gpio = <&gpio4 RK_PC2 GPIO_ACTIVE_HIGH>;

		pinctrl-names = "default";
		pinctrl-0 = <&aw20036_pins>;

		aw20036,led {
			aw20036,name = "aw20036_led";
			aw20036,imax = <1>;
			aw20036,brightness = <128>;
			aw20036,max_brightness = <255>;
		};
	};
};

&pinctrl {
	aw20036 {
		aw20036_pins: aw20036-pins {
			rockchip,pins =
				<4 RK_PC2 RK_FUNC_GPIO &pcfg_pull_none>,
				<4 RK_PC3 RK_FUNC_GPIO &pcfg_pull_none>;
		};
	};
	cam {
		cam_clkout0: cam-clkout0 {
			rockchip,pins =
				/* cam_clkout0 */
				<4 RK_PA7 1 &pcfg_pull_none>;
		};

		cam_sleep: cam-sleep {
			rockchip,pins =
				/* cam_sleep */
				<4 RK_PA7 RK_FUNC_GPIO &pcfg_pull_none>;
		};

		camera_rst: camera-rst {
			rockchip,pins =
				/* front camera reset */
				<4 RK_PB0 RK_FUNC_GPIO &pcfg_pull_none>,
				/* back camra reset */
				<4 RK_PB1 RK_FUNC_GPIO &pcfg_pull_none>;
		};

		flash_led_gpios: flash-led {
			rockchip,pins =
				/* flash led enable */
				<4 RK_PA6 RK_FUNC_GPIO &pcfg_pull_none>;
		};
	};

	tp {
		tp_gpio: tp-gpio {
			rockchip,pins = <3 RK_PB0 RK_FUNC_GPIO &pcfg_pull_up>,
					<3 RK_PB1 RK_FUNC_GPIO &pcfg_pull_none>;
		};
	};

	audio-amplifier {
		spk_amp_enable_h: spk-amp-enable-h {
			rockchip,pins = <0 RK_PC0 RK_FUNC_GPIO &pcfg_pull_up>;
		};
	};

	headphone {
		hp_det: hp-det {
			rockchip,pins = <4 RK_PC6 RK_FUNC_GPIO &pcfg_pull_up>;
		};
	};

	lcd {
		lcd_rst_gpio: lcd-rst-gpio {
			rockchip,pins = <0 RK_PB7 RK_FUNC_GPIO &pcfg_pull_none>;
		};

		lcd_enable_gpio: lcd-enable-gpio {
			rockchip,pins = <0 RK_PB5 RK_FUNC_GPIO &pcfg_pull_none>;
		};

	};

	pmic {
		pmic_int: pmic_int {
			rockchip,pins =
				<0 RK_PA3 RK_FUNC_GPIO &pcfg_pull_up>;
		};

		soc_slppin_gpio: soc_slppin_gpio {
			rockchip,pins =
				<0 RK_PA2 RK_FUNC_GPIO &pcfg_output_low>;
		};

		soc_slppin_slp: soc_slppin_slp {
			rockchip,pins =
				<0 RK_PA2 1 &pcfg_pull_none>;
		};

		soc_slppin_rst: soc_slppin_rst {
			rockchip,pins =
				<0 RK_PA2 2 &pcfg_pull_none>;
		};
	};

	sensor {
		sensor_gpio: sensor-gpio {
			rockchip,pins = <3 RK_PA2 RK_FUNC_GPIO &pcfg_pull_none>;
		};
	};

	sdio-pwrseq {
		wifi_enable_h: wifi-enable-h {
			rockchip,pins = <0 RK_PC4 RK_FUNC_GPIO &pcfg_pull_none>;
		};
	};

	vcc_sd {
		vcc_sd_h: vcc-sd-h {
			rockchip,pins = <0 RK_PA5 RK_FUNC_GPIO &pcfg_pull_none>;
		};
	};

	wireless-wlan {
		wifi_host_wake_irq: wifi-host-wake-irq {
			rockchip,pins = <2 RK_PB2 RK_FUNC_GPIO &pcfg_pull_down>;
		};
	};

	wireless-bluetooth {
		uart1_gpios: uart1-gpios {
			rockchip,pins = <2 RK_PB5 RK_FUNC_GPIO &pcfg_pull_none>;
		};
	};

	keys {
		gpio_keys_ctrl: gpio-keys-ctrl {
			rockchip,pins =
				<3 RK_PC6 RK_FUNC_GPIO &pcfg_pull_none>, <3 RK_PD1 RK_FUNC_GPIO &pcfg_pull_none>,
				<3 RK_PC7 RK_FUNC_GPIO &pcfg_pull_none>, <3 RK_PD0 RK_FUNC_GPIO &pcfg_pull_none>,
				<3 RK_PD5 RK_FUNC_GPIO &pcfg_pull_none>, <3 RK_PD4 RK_FUNC_GPIO &pcfg_pull_none>,
				<3 RK_PD2 RK_FUNC_GPIO &pcfg_pull_none>, <3 RK_PD3 RK_FUNC_GPIO &pcfg_pull_none>,
				<3 RK_PD6 RK_FUNC_GPIO &pcfg_pull_none>, <3 RK_PD7 RK_FUNC_GPIO &pcfg_pull_none>,
				<4 RK_PA0 RK_FUNC_GPIO &pcfg_pull_none>, <4 RK_PA1 RK_FUNC_GPIO &pcfg_pull_none>,
				<4 RK_PA2 RK_FUNC_GPIO &pcfg_pull_none>, <4 RK_PA3 RK_FUNC_GPIO &pcfg_pull_none>,
				<4 RK_PA4 RK_FUNC_GPIO &pcfg_pull_none>, <4 RK_PA5 RK_FUNC_GPIO &pcfg_pull_none>,
				<4 RK_PA6 RK_FUNC_GPIO &pcfg_pull_none>, <2 RK_PC5 RK_FUNC_GPIO &pcfg_pull_none>;
		};
	};

	powerCtrl {
		powerCtrl_en: powerCtrl-en {
			rockchip,pins = <0 RK_PC0 RK_FUNC_GPIO &pcfg_pull_none>, <0 RK_PC7 RK_FUNC_GPIO &pcfg_pull_none>;
		};
	};
};

&pmu_io_domains {
	status = "okay";
	pmuio1-supply = <&vcc3v3_pmu>;
	pmuio2-supply = <&vcc_3v3>;
	vccio1-supply = <&vccio_acodec>;
	vccio3-supply = <&vccio_sd>;
	vccio4-supply = <&vcc_3v3>;
	vccio5-supply = <&vcc_3v3>;
	vccio6-supply = <&vcc_3v3>;
	vccio7-supply = <&vcc_3v3>;
};

&pwm2 {
	status = "okay";
};

&pwm3 {
	status = "okay";
};

&pwm4 {
	status = "okay";
};

&rk_rga {
	status = "okay";
};

&rkisp {
	status = "okay";
};

&rkisp_mmu {
	status = "okay";
};

&rkisp_vir0 {
	status = "okay";

	port {
		#address-cells = <1>;
		#size-cells = <0>;

		isp0_in: endpoint@0 {
			reg = <0>;
			remote-endpoint = <&csidphy0_out>;
		};
	};
};

&rkvdec {
	status = "okay";
};

&rkvdec_mmu {
	status = "okay";
};

&rkvenc {
	status = "okay";
};

&rkvenc_mmu {
	status = "okay";
};

&route_dsi0 {
	status = "okay";
	connect = <&vp0_out_dsi0>;
};

&route_hdmi {
	status = "okay";
	connect = <&vp0_out_hdmi>;
};

&saradc {
	status = "okay";
	vref-supply = <&vcc_1v8>;
};

&sdhci {
	bus-width = <8>;
	no-sdio;
	no-sd;
	non-removable;
	max-frequency = <200000000>;
	status = "okay";
};

&sdmmc0 {
	max-frequency = <150000000>;
	no-sdio;
	no-mmc;
	bus-width = <4>;
	cap-mmc-highspeed;
	cap-sd-highspeed;
	disable-wp;
	sd-uhs-sdr104;
	vmmc-supply = <&vcc_sd>;
	vqmmc-supply = <&vccio_sd>;
	pinctrl-names = "default";
	pinctrl-0 = <&sdmmc0_bus4 &sdmmc0_clk &sdmmc0_cmd &sdmmc0_det>;
	status = "okay";
};

&sdmmc1 {
    max-frequency = <150000000>;

    no-sd;
    no-mmc;
    no-1-8-v;
    voltage-ranges = <3300 3300>;

    bus-width = <4>;
    cap-sd-highspeed;
    cap-sdio-irq;
    keep-power-in-suspend;
    non-removable;

    mmc-pwrseq = <&sdio_pwrseq>;
    vmmc-supply = <&vcc_3v3>;
    vqmmc-supply = <&vcc_wifi_io>;

    pinctrl-names = "default";
    pinctrl-0 = <&sdmmc1_bus4 &sdmmc1_cmd &sdmmc1_clk>;
    sd-uhs-sdr12;
    sd-uhs-sdr25;
    sd-uhs-sdr50;
    sd-uhs-sdr104;

    status = "okay";
};

&sdmmc2 {
	max-frequency = <100000000>;
	bus-width = <4>;
	disable-wp;
	cap-sd-highspeed;

	no-sdio;
	no-mmc;

	vmmc-supply = <&vcc_sd>;
	vqmmc-supply = <&vccio_sd>;

	pinctrl-names = "default";
	pinctrl-0 = <&sdmmc2m1_bus4 &sdmmc2m1_cmd &sdmmc2m1_clk &sdmmc2m1_det>;

	status = "okay";
};

&tsadc {
	status = "okay";
};

&uart1 {
	status = "okay";
	pinctrl-names = "default";
	pinctrl-0 = <&uart1m0_xfer &uart1m0_ctsn &uart1m0_rtsn>;
	uart-has-rtscts;

	bluetooth {
		compatible = "realtek,rtl8723ds-bt", "realtek,rtl8723bs-bt";
		//device-wake-gpios = <&gpio2 RK_PC4 GPIO_ACTIVE_HIGH>;
		enable-gpios = <&gpio0 RK_PC5 GPIO_ACTIVE_HIGH>;
		//host-wake-gpios = <&gpio2 RK_PC3 GPIO_ACTIVE_HIGH>;
		max-speed = <1500000>;
	};
};

&u2phy0_otg {
	status = "okay";
	vbus-supply = <&otg_switch>;
	phy-supply = <&otg_switch>;
};

&usb2phy0 {
	status = "okay";
};

&usbdrd_dwc3 {
    dr_mode = "otg";
    extcon = <&usb2phy0>;
    status = "okay";
};

&usbdrd30 {
	status = "okay";
};

&vdpu {
	status = "okay";
};

&vdpu_mmu {
	status = "okay";
};

&vepu {
	status = "okay";
};

&vepu_mmu {
	status = "okay";
};

&vop {
	status = "okay";
	assigned-clocks = <&cru DCLK_VOP0>, <&cru DCLK_VOP1>;
	assigned-clock-parents = <&pmucru PLL_HPLL>, <&cru PLL_VPLL>;
};

&vop_mmu {
	status = "okay";
};
